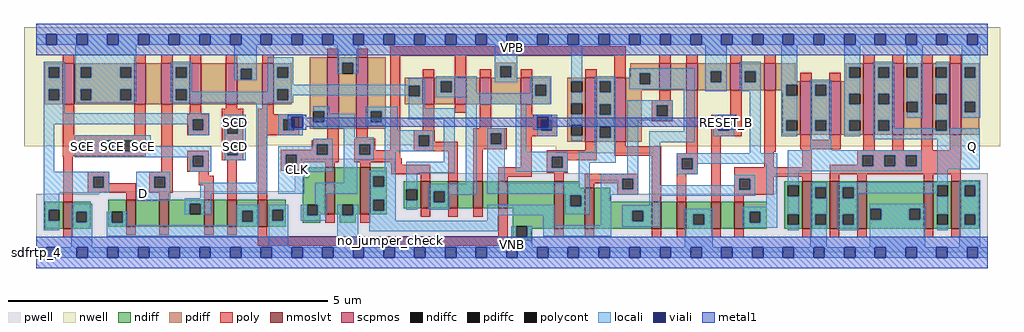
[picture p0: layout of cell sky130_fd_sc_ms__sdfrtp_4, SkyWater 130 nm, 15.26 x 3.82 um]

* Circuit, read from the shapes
.subckt sky130_fd_sc_ms__sdfrtp_4 CLK D RESET_B SCD SCE VGND VNB VPB VPWR Q
XM1 VGND SCE n1 VNB sky130_fd_pr__nfet_01v8_lvt w=0.42 l=0.15
XM2 n2 n1 n3 VNB sky130_fd_pr__nfet_01v8_lvt w=0.42 l=0.15
XM3 n4 D n2 VNB sky130_fd_pr__nfet_01v8_lvt w=0.42 l=0.15
XM4 n5 SCE n4 VNB sky130_fd_pr__nfet_01v8_lvt w=0.42 l=0.15
XM5 n3 SCD n5 VNB sky130_fd_pr__nfet_01v8_lvt w=0.42 l=0.15
XM6 VGND RESET_B n3 VNB sky130_fd_pr__nfet_01v8_lvt w=0.42 l=0.15
XM7 VGND CLK n6 VNB sky130_fd_pr__nfet_01v8_lvt w=0.74 l=0.15
XM8 n7 n6 VGND VNB sky130_fd_pr__nfet_01v8_lvt w=0.74 l=0.15
XM9 n8 n6 n4 VNB sky130_fd_pr__nfet_01v8_lvt w=0.42 l=0.15
XM10 n9 n7 n8 VNB sky130_fd_pr__nfet_01v8_lvt w=0.42 l=0.15
XM11 n10 n11 n9 VNB sky130_fd_pr__nfet_01v8_lvt w=0.42 l=0.15
XM12 VGND RESET_B n10 VNB sky130_fd_pr__nfet_01v8_lvt w=0.42 l=0.15
XM13 n11 n8 VGND VNB sky130_fd_pr__nfet_01v8_lvt w=0.74 l=0.15
XM14 n12 n7 n11 VNB sky130_fd_pr__nfet_01v8_lvt w=0.64 l=0.15
XM15 n13 n6 n12 VNB sky130_fd_pr__nfet_01v8_lvt w=0.42 l=0.15
XM16 VGND n14 n13 VNB sky130_fd_pr__nfet_01v8_lvt w=0.42 l=0.15
XM17 n15 RESET_B VGND VNB sky130_fd_pr__nfet_01v8_lvt w=0.42 l=0.15
XM18 n14 n12 n15 VNB sky130_fd_pr__nfet_01v8_lvt w=0.42 l=0.15
XM19 VGND n12 n16 VNB sky130_fd_pr__nfet_01v8_lvt w=0.74 l=0.15
XM20 Q n16 VGND VNB sky130_fd_pr__nfet_01v8_lvt w=0.74 l=0.15 m=4
XM21 VPWR SCE n1 VPB sky130_fd_pr__pfet_01v8 w=0.64 l=0.18
XM22 n17 SCE VPWR VPB sky130_fd_pr__pfet_01v8 w=0.64 l=0.18
XM23 n4 D n17 VPB sky130_fd_pr__pfet_01v8 w=0.64 l=0.18
XM24 n18 n1 n4 VPB sky130_fd_pr__pfet_01v8 w=0.64 l=0.18
XM25 VPWR SCD n18 VPB sky130_fd_pr__pfet_01v8 w=0.64 l=0.18
XM26 n4 RESET_B VPWR VPB sky130_fd_pr__pfet_01v8 w=0.64 l=0.18
XM27 VPWR CLK n6 VPB sky130_fd_pr__pfet_01v8 w=1.12 l=0.18
XM28 n7 n6 VPWR VPB sky130_fd_pr__pfet_01v8 w=1.12 l=0.18
XM29 n8 n7 n4 VPB sky130_fd_pr__pfet_01v8 w=0.42 l=0.18
XM30 n19 n6 n8 VPB sky130_fd_pr__pfet_01v8 w=0.42 l=0.18
XM31 VPWR n11 n19 VPB sky130_fd_pr__pfet_01v8 w=0.42 l=0.18
XM32 n8 RESET_B VPWR VPB sky130_fd_pr__pfet_01v8 w=0.42 l=0.18
XM33 n11 n8 VPWR VPB sky130_fd_pr__pfet_01v8 w=1 l=0.18
XM34 n12 n6 n11 VPB sky130_fd_pr__pfet_01v8 w=1 l=0.18
XM35 n20 n7 n12 VPB sky130_fd_pr__pfet_01v8 w=0.42 l=0.18
XM36 VPWR n14 n20 VPB sky130_fd_pr__pfet_01v8 w=0.42 l=0.18
XM37 n14 RESET_B VPWR VPB sky130_fd_pr__pfet_01v8 w=0.42 l=0.18
XM38 VPWR n12 n14 VPB sky130_fd_pr__pfet_01v8 w=0.42 l=0.18
XM39 n16 n12 VPWR VPB sky130_fd_pr__pfet_01v8 w=0.84 l=0.18 m=2
XM40 Q n16 VPWR VPB sky130_fd_pr__pfet_01v8 w=1.12 l=0.18 m=4
.ends

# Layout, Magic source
magic
tech sky130A
magscale 1 2
<< nwell >>
rect -38 335 3014 704
rect -38 332 710 335
rect 1194 332 3014 335
rect 1625 311 1929 332
<< pwell >>
rect 827 261 1122 293
rect 808 248 1122 261
rect 808 228 1726 248
rect 808 191 1821 228
rect 199 184 1821 191
rect 2313 184 2975 248
rect 1 49 2975 184
rect 0 0 2976 49
<< scpmos >>
rect 83 464 119 592
rect 307 464 343 592
rect 391 464 427 592
rect 481 464 517 592
rect 593 464 629 592
rect 707 464 743 592
rect 911 387 947 611
rect 1001 387 1037 611
rect 1209 463 1245 547
rect 1309 463 1345 547
rect 1387 463 1423 547
rect 1515 463 1551 547
rect 1717 347 1753 547
rect 1807 347 1843 547
rect 1949 508 1985 592
rect 2033 508 2069 592
rect 2170 508 2206 592
rect 2277 508 2313 592
rect 2390 368 2426 536
rect 2480 368 2516 536
rect 2587 368 2623 592
rect 2677 368 2713 592
rect 2767 368 2803 592
rect 2857 368 2893 592
<< nmoslvt >>
rect 84 74 114 158
rect 282 81 312 165
rect 385 81 415 165
rect 525 81 555 165
rect 597 81 627 165
rect 693 81 723 165
rect 904 119 934 267
rect 1014 119 1044 267
rect 1203 138 1233 222
rect 1289 138 1319 222
rect 1367 138 1397 222
rect 1445 138 1475 222
rect 1620 74 1650 222
rect 1715 74 1745 202
rect 1925 74 1955 158
rect 2003 74 2033 158
rect 2111 74 2141 158
rect 2183 74 2213 158
rect 2396 74 2426 222
rect 2482 74 2512 222
rect 2568 74 2598 222
rect 2776 74 2806 222
rect 2862 74 2892 222
<< ndiff >>
rect 853 235 904 267
rect 27 133 84 158
rect 27 99 39 133
rect 73 99 84 133
rect 27 74 84 99
rect 114 128 171 158
rect 114 94 125 128
rect 159 94 171 128
rect 114 74 171 94
rect 225 127 282 165
rect 225 93 237 127
rect 271 93 282 127
rect 225 81 282 93
rect 312 81 385 165
rect 415 153 525 165
rect 415 119 480 153
rect 514 119 525 153
rect 415 81 525 119
rect 555 81 597 165
rect 627 130 693 165
rect 627 96 644 130
rect 678 96 693 130
rect 627 81 693 96
rect 723 134 780 165
rect 723 100 738 134
rect 772 100 780 134
rect 723 81 780 100
rect 834 150 904 235
rect 834 116 847 150
rect 881 119 904 150
rect 934 150 1014 267
rect 934 119 957 150
rect 881 116 889 119
rect 834 93 889 116
rect 949 116 957 119
rect 991 119 1014 150
rect 1044 239 1096 267
rect 1044 205 1054 239
rect 1088 205 1096 239
rect 1044 165 1096 205
rect 1044 131 1054 165
rect 1088 131 1096 165
rect 1150 197 1203 222
rect 1150 163 1158 197
rect 1192 163 1203 197
rect 1150 138 1203 163
rect 1233 191 1289 222
rect 1233 157 1244 191
rect 1278 157 1289 191
rect 1233 138 1289 157
rect 1319 138 1367 222
rect 1397 138 1445 222
rect 1475 138 1620 222
rect 1044 119 1096 131
rect 991 116 999 119
rect 949 93 999 116
rect 1490 82 1620 138
rect 1490 48 1502 82
rect 1536 74 1620 82
rect 1650 202 1700 222
rect 1650 179 1715 202
rect 1650 145 1670 179
rect 1704 145 1715 179
rect 1650 74 1715 145
rect 1745 158 1795 202
rect 2339 210 2396 222
rect 2339 176 2351 210
rect 2385 176 2396 210
rect 1745 131 1925 158
rect 1745 97 1864 131
rect 1898 97 1925 131
rect 1745 74 1925 97
rect 1955 74 2003 158
rect 2033 120 2111 158
rect 2033 86 2055 120
rect 2089 86 2111 120
rect 2033 74 2111 86
rect 2141 74 2183 158
rect 2213 127 2285 158
rect 2213 93 2231 127
rect 2265 93 2285 127
rect 2213 74 2285 93
rect 2339 120 2396 176
rect 2339 86 2351 120
rect 2385 86 2396 120
rect 2339 74 2396 86
rect 2426 204 2482 222
rect 2426 170 2437 204
rect 2471 170 2482 204
rect 2426 120 2482 170
rect 2426 86 2437 120
rect 2471 86 2482 120
rect 2426 74 2482 86
rect 2512 204 2568 222
rect 2512 170 2523 204
rect 2557 170 2568 204
rect 2512 120 2568 170
rect 2512 86 2523 120
rect 2557 86 2568 120
rect 2512 74 2568 86
rect 2598 136 2776 222
rect 2598 102 2609 136
rect 2643 102 2731 136
rect 2765 102 2776 136
rect 2598 74 2776 102
rect 2806 210 2862 222
rect 2806 176 2817 210
rect 2851 176 2862 210
rect 2806 120 2862 176
rect 2806 86 2817 120
rect 2851 86 2862 120
rect 2806 74 2862 86
rect 2892 210 2949 222
rect 2892 176 2903 210
rect 2937 176 2949 210
rect 2892 120 2949 176
rect 2892 86 2903 120
rect 2937 86 2949 120
rect 2892 74 2949 86
rect 1536 48 1548 74
rect 1490 36 1548 48
<< pdiff >>
rect 27 580 83 592
rect 27 546 39 580
rect 73 546 83 580
rect 27 510 83 546
rect 27 476 39 510
rect 73 476 83 510
rect 27 464 83 476
rect 119 580 307 592
rect 119 546 139 580
rect 173 546 263 580
rect 297 546 307 580
rect 119 510 307 546
rect 119 476 139 510
rect 173 476 263 510
rect 297 476 307 510
rect 119 464 307 476
rect 343 464 391 592
rect 427 580 481 592
rect 427 546 437 580
rect 471 546 481 580
rect 427 510 481 546
rect 427 476 437 510
rect 471 476 481 510
rect 427 464 481 476
rect 517 464 593 592
rect 629 575 707 592
rect 629 541 640 575
rect 674 541 707 575
rect 629 464 707 541
rect 743 580 800 592
rect 743 546 754 580
rect 788 546 800 580
rect 743 510 800 546
rect 743 476 754 510
rect 788 476 800 510
rect 743 464 800 476
rect 855 441 911 611
rect 855 407 867 441
rect 901 407 911 441
rect 855 387 911 407
rect 947 593 1001 611
rect 947 559 957 593
rect 991 559 1001 593
rect 947 387 1001 559
rect 1037 441 1093 611
rect 1037 407 1047 441
rect 1081 407 1093 441
rect 1037 387 1093 407
rect 1438 582 1500 594
rect 1438 548 1452 582
rect 1486 548 1500 582
rect 1438 547 1500 548
rect 1858 560 1949 592
rect 1858 547 1887 560
rect 1153 522 1209 547
rect 1153 488 1165 522
rect 1199 488 1209 522
rect 1153 463 1209 488
rect 1245 535 1309 547
rect 1245 501 1265 535
rect 1299 501 1309 535
rect 1245 463 1309 501
rect 1345 463 1387 547
rect 1423 463 1515 547
rect 1551 524 1607 547
rect 1551 490 1561 524
rect 1595 490 1607 524
rect 1551 463 1607 490
rect 1661 535 1717 547
rect 1661 501 1673 535
rect 1707 501 1717 535
rect 1661 467 1717 501
rect 1661 433 1673 467
rect 1707 433 1717 467
rect 1661 399 1717 433
rect 1661 365 1673 399
rect 1707 365 1717 399
rect 1661 347 1717 365
rect 1753 535 1807 547
rect 1753 501 1763 535
rect 1797 501 1807 535
rect 1753 464 1807 501
rect 1753 430 1763 464
rect 1797 430 1807 464
rect 1753 393 1807 430
rect 1753 359 1763 393
rect 1797 359 1807 393
rect 1753 347 1807 359
rect 1843 526 1887 547
rect 1921 526 1949 560
rect 1843 508 1949 526
rect 1985 508 2033 592
rect 2069 567 2170 592
rect 2069 533 2109 567
rect 2143 533 2170 567
rect 2069 508 2170 533
rect 2206 567 2277 592
rect 2206 533 2216 567
rect 2250 533 2277 567
rect 2206 508 2277 533
rect 2313 536 2375 592
rect 2531 580 2587 592
rect 2531 546 2543 580
rect 2577 546 2587 580
rect 2531 536 2587 546
rect 2313 524 2390 536
rect 2313 508 2346 524
rect 1843 347 1893 508
rect 2333 490 2346 508
rect 2380 490 2390 524
rect 2333 414 2390 490
rect 2333 380 2346 414
rect 2380 380 2390 414
rect 2333 368 2390 380
rect 2426 524 2480 536
rect 2426 490 2436 524
rect 2470 490 2480 524
rect 2426 414 2480 490
rect 2426 380 2436 414
rect 2470 380 2480 414
rect 2426 368 2480 380
rect 2516 497 2587 536
rect 2516 463 2543 497
rect 2577 463 2587 497
rect 2516 414 2587 463
rect 2516 380 2543 414
rect 2577 380 2587 414
rect 2516 368 2587 380
rect 2623 580 2677 592
rect 2623 546 2633 580
rect 2667 546 2677 580
rect 2623 497 2677 546
rect 2623 463 2633 497
rect 2667 463 2677 497
rect 2623 414 2677 463
rect 2623 380 2633 414
rect 2667 380 2677 414
rect 2623 368 2677 380
rect 2713 580 2767 592
rect 2713 546 2723 580
rect 2757 546 2767 580
rect 2713 472 2767 546
rect 2713 438 2723 472
rect 2757 438 2767 472
rect 2713 368 2767 438
rect 2803 580 2857 592
rect 2803 546 2813 580
rect 2847 546 2857 580
rect 2803 497 2857 546
rect 2803 463 2813 497
rect 2847 463 2857 497
rect 2803 414 2857 463
rect 2803 380 2813 414
rect 2847 380 2857 414
rect 2803 368 2857 380
rect 2893 580 2949 592
rect 2893 546 2903 580
rect 2937 546 2949 580
rect 2893 472 2949 546
rect 2893 438 2903 472
rect 2937 438 2949 472
rect 2893 368 2949 438
<< ndiffc >>
rect 39 99 73 133
rect 125 94 159 128
rect 237 93 271 127
rect 480 119 514 153
rect 644 96 678 130
rect 738 100 772 134
rect 847 116 881 150
rect 957 116 991 150
rect 1054 205 1088 239
rect 1054 131 1088 165
rect 1158 163 1192 197
rect 1244 157 1278 191
rect 1502 48 1536 82
rect 1670 145 1704 179
rect 2351 176 2385 210
rect 1864 97 1898 131
rect 2055 86 2089 120
rect 2231 93 2265 127
rect 2351 86 2385 120
rect 2437 170 2471 204
rect 2437 86 2471 120
rect 2523 170 2557 204
rect 2523 86 2557 120
rect 2609 102 2643 136
rect 2731 102 2765 136
rect 2817 176 2851 210
rect 2817 86 2851 120
rect 2903 176 2937 210
rect 2903 86 2937 120
<< pdiffc >>
rect 39 546 73 580
rect 39 476 73 510
rect 139 546 173 580
rect 263 546 297 580
rect 139 476 173 510
rect 263 476 297 510
rect 437 546 471 580
rect 437 476 471 510
rect 640 541 674 575
rect 754 546 788 580
rect 754 476 788 510
rect 867 407 901 441
rect 957 559 991 593
rect 1047 407 1081 441
rect 1452 548 1486 582
rect 1165 488 1199 522
rect 1265 501 1299 535
rect 1561 490 1595 524
rect 1673 501 1707 535
rect 1673 433 1707 467
rect 1673 365 1707 399
rect 1763 501 1797 535
rect 1763 430 1797 464
rect 1763 359 1797 393
rect 1887 526 1921 560
rect 2109 533 2143 567
rect 2216 533 2250 567
rect 2543 546 2577 580
rect 2346 490 2380 524
rect 2346 380 2380 414
rect 2436 490 2470 524
rect 2436 380 2470 414
rect 2543 463 2577 497
rect 2543 380 2577 414
rect 2633 546 2667 580
rect 2633 463 2667 497
rect 2633 380 2667 414
rect 2723 546 2757 580
rect 2723 438 2757 472
rect 2813 546 2847 580
rect 2813 463 2847 497
rect 2813 380 2847 414
rect 2903 546 2937 580
rect 2903 438 2937 472
<< poly >>
rect 83 592 119 618
rect 307 592 343 618
rect 391 592 427 618
rect 481 592 517 618
rect 593 592 629 618
rect 707 592 743 618
rect 911 611 947 637
rect 1001 611 1037 637
rect 1108 615 1843 645
rect 83 367 119 464
rect 307 367 343 464
rect 83 351 343 367
rect 83 317 137 351
rect 171 317 205 351
rect 239 317 273 351
rect 307 317 343 351
rect 83 301 343 317
rect 84 158 114 301
rect 391 253 427 464
rect 481 432 517 464
rect 593 449 629 464
rect 707 449 743 464
rect 473 416 539 432
rect 473 382 489 416
rect 523 382 539 416
rect 473 366 539 382
rect 581 406 647 449
rect 581 372 597 406
rect 631 372 647 406
rect 581 338 647 372
rect 162 237 228 253
rect 162 203 178 237
rect 212 217 228 237
rect 354 237 427 253
rect 473 302 539 318
rect 473 268 489 302
rect 523 268 539 302
rect 581 304 597 338
rect 631 304 647 338
rect 581 288 647 304
rect 693 432 743 449
rect 693 416 823 432
rect 693 382 773 416
rect 807 382 823 416
rect 693 370 823 382
rect 693 366 819 370
rect 473 252 539 268
rect 212 203 312 217
rect 162 187 312 203
rect 354 203 370 237
rect 404 203 427 237
rect 509 240 539 252
rect 509 210 555 240
rect 354 187 427 203
rect 282 165 312 187
rect 385 165 415 187
rect 525 165 555 210
rect 597 165 627 288
rect 693 165 723 366
rect 911 355 947 387
rect 1001 355 1037 387
rect 866 351 947 355
rect 862 339 947 351
rect 862 322 878 339
rect 765 306 878 322
rect 765 272 781 306
rect 815 305 878 306
rect 912 305 947 339
rect 815 282 947 305
rect 995 339 1061 355
rect 995 305 1011 339
rect 1045 319 1061 339
rect 1108 319 1138 615
rect 1209 547 1245 573
rect 1309 547 1345 615
rect 1387 547 1423 573
rect 1515 547 1551 573
rect 1717 547 1753 573
rect 1807 547 1843 615
rect 1949 592 1985 618
rect 2033 592 2069 618
rect 2170 592 2206 618
rect 2277 592 2313 618
rect 2587 592 2623 618
rect 2677 592 2713 618
rect 2767 592 2803 618
rect 2857 592 2893 618
rect 1209 383 1245 463
rect 1309 437 1345 463
rect 1387 389 1423 463
rect 1515 430 1551 463
rect 1515 414 1629 430
rect 1045 305 1138 319
rect 1180 367 1246 383
rect 1180 333 1196 367
rect 1230 347 1246 367
rect 1367 373 1471 389
rect 1230 333 1319 347
rect 1180 317 1319 333
rect 995 295 1138 305
rect 995 282 1143 295
rect 815 272 837 282
rect 765 256 837 272
rect 904 267 934 282
rect 1014 267 1044 282
rect 1109 275 1143 282
rect 904 93 934 119
rect 1111 245 1233 275
rect 1203 222 1233 245
rect 1289 222 1319 317
rect 1367 339 1421 373
rect 1455 339 1471 373
rect 1367 323 1471 339
rect 1515 380 1579 414
rect 1613 380 1629 414
rect 1515 364 1629 380
rect 1367 222 1397 323
rect 1515 267 1549 364
rect 2390 536 2426 562
rect 2480 536 2516 562
rect 1949 476 1985 508
rect 1925 460 1991 476
rect 1925 426 1941 460
rect 1975 426 1991 460
rect 1925 410 1991 426
rect 1717 319 1753 347
rect 1445 237 1549 267
rect 1597 299 1753 319
rect 1807 332 1843 347
rect 1807 302 1955 332
rect 2033 311 2069 508
rect 2170 430 2206 508
rect 1597 265 1613 299
rect 1647 289 1753 299
rect 1647 265 1663 289
rect 1597 249 1663 265
rect 1445 222 1475 237
rect 1620 222 1650 249
rect 1715 231 1883 247
rect 1014 93 1044 119
rect 1203 112 1233 138
rect 1289 112 1319 138
rect 1367 112 1397 138
rect 84 48 114 74
rect 282 55 312 81
rect 385 55 415 81
rect 525 55 555 81
rect 597 55 627 81
rect 693 51 723 81
rect 1445 51 1475 138
rect 693 21 1475 51
rect 1715 217 1833 231
rect 1715 202 1745 217
rect 1817 197 1833 217
rect 1867 197 1883 231
rect 1817 181 1883 197
rect 1925 158 1955 302
rect 2003 295 2069 311
rect 2003 261 2019 295
rect 2053 261 2069 295
rect 2003 245 2069 261
rect 2111 414 2206 430
rect 2111 380 2133 414
rect 2167 380 2206 414
rect 2111 364 2206 380
rect 2003 158 2033 245
rect 2111 158 2141 364
rect 2277 315 2313 508
rect 2390 353 2426 368
rect 2480 353 2516 368
rect 2390 323 2516 353
rect 2277 267 2307 315
rect 2396 267 2426 323
rect 2587 320 2623 368
rect 2677 320 2713 368
rect 2767 320 2803 368
rect 2857 320 2893 368
rect 2568 304 2893 320
rect 2568 275 2584 304
rect 2183 237 2426 267
rect 2183 230 2307 237
rect 2183 196 2199 230
rect 2233 196 2307 230
rect 2396 222 2426 237
rect 2482 270 2584 275
rect 2618 270 2652 304
rect 2686 270 2720 304
rect 2754 290 2893 304
rect 2754 270 2892 290
rect 2482 245 2892 270
rect 2482 222 2512 245
rect 2568 222 2598 245
rect 2776 222 2806 245
rect 2862 222 2892 245
rect 2183 180 2307 196
rect 2183 158 2213 180
rect 1620 48 1650 74
rect 1715 48 1745 74
rect 1925 48 1955 74
rect 2003 48 2033 74
rect 2111 48 2141 74
rect 2183 48 2213 74
rect 2396 48 2426 74
rect 2482 48 2512 74
rect 2568 48 2598 74
rect 2776 48 2806 74
rect 2862 48 2892 74
<< polycont >>
rect 137 317 171 351
rect 205 317 239 351
rect 273 317 307 351
rect 489 382 523 416
rect 597 372 631 406
rect 178 203 212 237
rect 489 268 523 302
rect 597 304 631 338
rect 773 382 807 416
rect 370 203 404 237
rect 781 272 815 306
rect 878 305 912 339
rect 1011 305 1045 339
rect 1196 333 1230 367
rect 1421 339 1455 373
rect 1579 380 1613 414
rect 1941 426 1975 460
rect 1613 265 1647 299
rect 1833 197 1867 231
rect 2019 261 2053 295
rect 2133 380 2167 414
rect 2199 196 2233 230
rect 2584 270 2618 304
rect 2652 270 2686 304
rect 2720 270 2754 304
<< locali >>
rect 0 649 31 683
rect 65 649 127 683
rect 161 649 223 683
rect 257 649 319 683
rect 353 649 415 683
rect 449 649 511 683
rect 545 649 607 683
rect 641 649 703 683
rect 737 649 799 683
rect 833 649 895 683
rect 929 649 991 683
rect 1025 649 1087 683
rect 1121 649 1183 683
rect 1217 649 1279 683
rect 1313 649 1375 683
rect 1409 649 1471 683
rect 1505 649 1567 683
rect 1601 649 1663 683
rect 1697 649 1759 683
rect 1793 649 1855 683
rect 1889 649 1951 683
rect 1985 649 2047 683
rect 2081 649 2143 683
rect 2177 649 2239 683
rect 2273 649 2335 683
rect 2369 649 2431 683
rect 2465 649 2527 683
rect 2561 649 2623 683
rect 2657 649 2719 683
rect 2753 649 2815 683
rect 2849 649 2911 683
rect 2945 649 2976 683
rect 23 580 89 596
rect 23 546 39 580
rect 73 546 89 580
rect 23 510 89 546
rect 23 476 39 510
rect 73 476 89 510
rect 23 435 89 476
rect 123 580 313 649
rect 123 546 139 580
rect 173 546 263 580
rect 297 546 313 580
rect 123 510 313 546
rect 123 476 139 510
rect 173 476 263 510
rect 297 476 313 510
rect 123 469 313 476
rect 421 580 487 596
rect 421 546 437 580
rect 471 546 487 580
rect 421 510 487 546
rect 619 575 690 649
rect 619 541 640 575
rect 674 541 690 575
rect 619 538 690 541
rect 724 580 804 611
rect 724 546 754 580
rect 788 546 804 580
rect 941 593 1007 649
rect 941 559 957 593
rect 991 559 1007 593
rect 1434 582 1504 649
rect 421 476 437 510
rect 471 503 487 510
rect 724 525 804 546
rect 1165 525 1215 545
rect 724 522 1215 525
rect 724 510 1165 522
rect 724 503 754 510
rect 471 476 754 503
rect 788 491 1165 510
rect 788 476 804 491
rect 421 469 804 476
rect 1199 488 1215 522
rect 23 416 541 435
rect 23 401 489 416
rect 23 253 57 401
rect 475 382 489 401
rect 523 382 541 416
rect 121 351 359 367
rect 475 366 541 382
rect 589 406 655 430
rect 589 372 597 406
rect 631 372 655 406
rect 121 317 137 351
rect 171 317 205 351
rect 239 317 273 351
rect 307 332 359 351
rect 589 338 655 372
rect 307 317 547 332
rect 121 302 547 317
rect 121 298 489 302
rect 481 268 489 298
rect 523 268 547 302
rect 589 304 597 338
rect 631 304 655 338
rect 589 288 655 304
rect 23 237 228 253
rect 23 203 178 237
rect 212 203 228 237
rect 23 187 228 203
rect 313 237 420 253
rect 481 252 547 268
rect 313 203 370 237
rect 404 203 420 237
rect 689 218 723 469
rect 867 441 917 457
rect 757 424 833 432
rect 757 416 799 424
rect 757 382 773 416
rect 807 382 833 390
rect 901 434 917 441
rect 1031 441 1131 455
rect 901 407 996 434
rect 867 389 996 407
rect 1031 407 1047 441
rect 1081 407 1131 441
rect 1165 451 1215 488
rect 1249 535 1377 551
rect 1249 501 1265 535
rect 1299 501 1377 535
rect 1434 548 1452 582
rect 1486 548 1504 582
rect 1434 532 1504 548
rect 1249 498 1377 501
rect 1545 524 1611 551
rect 1545 498 1561 524
rect 1249 490 1561 498
rect 1595 490 1611 524
rect 1249 485 1611 490
rect 1343 464 1611 485
rect 1673 535 1707 649
rect 1854 560 2059 576
rect 1673 467 1707 501
rect 1165 417 1309 451
rect 1031 394 1131 407
rect 757 366 833 382
rect 962 360 996 389
rect 1090 383 1131 394
rect 1090 367 1241 383
rect 867 339 928 355
rect 867 332 878 339
rect 23 133 73 187
rect 313 162 420 203
rect 513 184 723 218
rect 757 306 878 332
rect 757 272 781 306
rect 815 305 878 306
rect 912 305 928 339
rect 815 272 928 305
rect 757 252 928 272
rect 962 339 1056 360
rect 962 305 1011 339
rect 1045 305 1056 339
rect 962 289 1056 305
rect 1090 333 1196 367
rect 1230 333 1241 367
rect 1090 317 1241 333
rect 757 184 839 252
rect 962 218 1004 289
rect 1090 255 1124 317
rect 1275 283 1309 417
rect 873 184 1004 218
rect 1041 239 1124 255
rect 1041 205 1054 239
rect 1088 205 1124 239
rect 513 169 547 184
rect 464 153 547 169
rect 23 99 39 133
rect 23 70 73 99
rect 109 128 175 153
rect 109 94 125 128
rect 159 94 175 128
rect 109 17 175 94
rect 221 127 287 128
rect 221 93 237 127
rect 271 93 287 127
rect 464 119 480 153
rect 514 119 547 153
rect 873 150 907 184
rect 1041 165 1124 205
rect 628 130 694 150
rect 221 85 287 93
rect 628 96 644 130
rect 678 96 694 130
rect 628 85 694 96
rect 221 51 694 85
rect 728 134 788 150
rect 728 100 738 134
rect 772 100 788 134
rect 827 116 847 150
rect 881 116 907 150
rect 827 100 907 116
rect 941 116 957 150
rect 991 116 1007 150
rect 728 17 788 100
rect 941 17 1007 116
rect 1041 131 1054 165
rect 1088 131 1124 165
rect 1158 249 1309 283
rect 1158 197 1192 249
rect 1343 215 1377 464
rect 1158 134 1192 163
rect 1228 191 1377 215
rect 1228 157 1244 191
rect 1278 181 1377 191
rect 1411 373 1465 389
rect 1411 339 1421 373
rect 1455 339 1465 373
rect 1411 218 1465 339
rect 1499 315 1533 464
rect 1567 424 1629 430
rect 1601 414 1629 424
rect 1567 380 1579 390
rect 1613 380 1629 414
rect 1567 364 1629 380
rect 1673 399 1707 433
rect 1673 349 1707 365
rect 1747 535 1813 551
rect 1747 501 1763 535
rect 1797 501 1813 535
rect 1854 526 1887 560
rect 1921 526 2059 560
rect 1854 510 2059 526
rect 1747 464 1813 501
rect 1747 430 1763 464
rect 1797 430 1813 464
rect 1747 393 1813 430
rect 1747 359 1763 393
rect 1797 359 1813 393
rect 1747 315 1813 359
rect 1499 299 1663 315
rect 1499 265 1613 299
rect 1647 265 1663 299
rect 1499 252 1663 265
rect 1697 281 1813 315
rect 1849 460 1991 476
rect 1849 426 1941 460
rect 1975 426 1991 460
rect 1849 413 1991 426
rect 1697 218 1731 281
rect 1849 247 1883 413
rect 2025 379 2059 510
rect 2093 567 2159 649
rect 2093 533 2109 567
rect 2143 533 2159 567
rect 2093 504 2159 533
rect 2200 567 2266 596
rect 2200 533 2216 567
rect 2250 533 2266 567
rect 2200 504 2266 533
rect 1411 184 1731 218
rect 1278 157 1294 181
rect 1228 134 1294 157
rect 1654 179 1731 184
rect 1041 100 1124 131
rect 1411 116 1620 150
rect 1654 145 1670 179
rect 1704 145 1731 179
rect 1654 119 1731 145
rect 1765 231 1883 247
rect 1765 197 1833 231
rect 1867 197 1883 231
rect 1765 181 1883 197
rect 1917 345 2059 379
rect 2117 424 2183 430
rect 2117 414 2143 424
rect 2117 380 2133 414
rect 2177 390 2183 424
rect 2167 380 2183 390
rect 2117 364 2183 380
rect 1917 211 1951 345
rect 2232 311 2266 504
rect 2330 524 2380 649
rect 2527 580 2577 649
rect 2527 546 2543 580
rect 2330 490 2346 524
rect 2330 414 2380 490
rect 2330 380 2346 414
rect 2330 364 2380 380
rect 2420 524 2486 540
rect 2420 490 2436 524
rect 2470 490 2486 524
rect 2420 414 2486 490
rect 2420 380 2436 414
rect 2470 380 2486 414
rect 2420 320 2486 380
rect 2527 497 2577 546
rect 2527 463 2543 497
rect 2527 414 2577 463
rect 2527 380 2543 414
rect 2527 364 2577 380
rect 2617 580 2683 596
rect 2617 546 2633 580
rect 2667 546 2683 580
rect 2617 497 2683 546
rect 2617 463 2633 497
rect 2667 463 2683 497
rect 2617 414 2683 463
rect 2723 580 2773 649
rect 2757 546 2773 580
rect 2723 472 2773 546
rect 2757 438 2773 472
rect 2723 422 2773 438
rect 2813 580 2856 596
rect 2847 546 2856 580
rect 2813 497 2856 546
rect 2847 463 2856 497
rect 2617 380 2633 414
rect 2667 388 2683 414
rect 2813 414 2856 463
rect 2894 580 2953 649
rect 2894 546 2903 580
rect 2937 546 2953 580
rect 2894 472 2953 546
rect 2894 438 2903 472
rect 2937 438 2953 472
rect 2894 422 2953 438
rect 2667 380 2813 388
rect 2847 388 2856 414
rect 2847 380 2951 388
rect 2617 354 2951 380
rect 2003 295 2317 311
rect 2003 261 2019 295
rect 2053 277 2317 295
rect 2053 261 2069 277
rect 2003 245 2069 261
rect 2183 230 2249 243
rect 2183 211 2199 230
rect 1917 196 2199 211
rect 2233 196 2249 230
rect 1411 100 1445 116
rect 1041 66 1445 100
rect 1586 85 1620 116
rect 1765 85 1799 181
rect 1917 177 2249 196
rect 1917 147 1951 177
rect 1486 48 1502 82
rect 1536 48 1552 82
rect 1586 51 1799 85
rect 1833 131 1951 147
rect 2283 143 2317 277
rect 1833 97 1864 131
rect 1898 97 1951 131
rect 1833 81 1951 97
rect 2028 120 2116 136
rect 2028 86 2055 120
rect 2089 86 2116 120
rect 1486 17 1552 48
rect 2028 17 2116 86
rect 2208 127 2317 143
rect 2208 93 2231 127
rect 2265 93 2317 127
rect 2208 77 2317 93
rect 2351 304 2770 320
rect 2351 270 2584 304
rect 2618 270 2652 304
rect 2686 270 2720 304
rect 2754 270 2770 304
rect 2351 254 2770 270
rect 2817 260 2951 354
rect 2351 210 2385 254
rect 2817 220 2851 260
rect 2351 120 2385 176
rect 2351 70 2385 86
rect 2421 204 2473 220
rect 2421 170 2437 204
rect 2471 170 2473 204
rect 2421 120 2473 170
rect 2421 86 2437 120
rect 2471 86 2473 120
rect 2421 17 2473 86
rect 2507 210 2851 220
rect 2507 204 2817 210
rect 2507 170 2523 204
rect 2557 186 2817 204
rect 2557 170 2573 186
rect 2507 120 2573 170
rect 2507 86 2523 120
rect 2557 86 2573 120
rect 2507 70 2573 86
rect 2607 136 2781 152
rect 2607 102 2609 136
rect 2643 102 2731 136
rect 2765 102 2781 136
rect 2607 17 2781 102
rect 2817 120 2851 176
rect 2817 70 2851 86
rect 2887 210 2953 226
rect 2887 176 2903 210
rect 2937 176 2953 210
rect 2887 120 2953 176
rect 2887 86 2903 120
rect 2937 86 2953 120
rect 2887 17 2953 86
rect 0 -17 31 17
rect 65 -17 127 17
rect 161 -17 223 17
rect 257 -17 319 17
rect 353 -17 415 17
rect 449 -17 511 17
rect 545 -17 607 17
rect 641 -17 703 17
rect 737 -17 799 17
rect 833 -17 895 17
rect 929 -17 991 17
rect 1025 -17 1087 17
rect 1121 -17 1183 17
rect 1217 -17 1279 17
rect 1313 -17 1375 17
rect 1409 -17 1471 17
rect 1505 -17 1567 17
rect 1601 -17 1663 17
rect 1697 -17 1759 17
rect 1793 -17 1855 17
rect 1889 -17 1951 17
rect 1985 -17 2047 17
rect 2081 -17 2143 17
rect 2177 -17 2239 17
rect 2273 -17 2335 17
rect 2369 -17 2431 17
rect 2465 -17 2527 17
rect 2561 -17 2623 17
rect 2657 -17 2719 17
rect 2753 -17 2815 17
rect 2849 -17 2911 17
rect 2945 -17 2976 17
<< viali >>
rect 31 649 65 683
rect 127 649 161 683
rect 223 649 257 683
rect 319 649 353 683
rect 415 649 449 683
rect 511 649 545 683
rect 607 649 641 683
rect 703 649 737 683
rect 799 649 833 683
rect 895 649 929 683
rect 991 649 1025 683
rect 1087 649 1121 683
rect 1183 649 1217 683
rect 1279 649 1313 683
rect 1375 649 1409 683
rect 1471 649 1505 683
rect 1567 649 1601 683
rect 1663 649 1697 683
rect 1759 649 1793 683
rect 1855 649 1889 683
rect 1951 649 1985 683
rect 2047 649 2081 683
rect 2143 649 2177 683
rect 2239 649 2273 683
rect 2335 649 2369 683
rect 2431 649 2465 683
rect 2527 649 2561 683
rect 2623 649 2657 683
rect 2719 649 2753 683
rect 2815 649 2849 683
rect 2911 649 2945 683
rect 799 416 833 424
rect 799 390 807 416
rect 807 390 833 416
rect 1567 414 1601 424
rect 1567 390 1579 414
rect 1579 390 1601 414
rect 2143 414 2177 424
rect 2143 390 2167 414
rect 2167 390 2177 414
rect 31 -17 65 17
rect 127 -17 161 17
rect 223 -17 257 17
rect 319 -17 353 17
rect 415 -17 449 17
rect 511 -17 545 17
rect 607 -17 641 17
rect 703 -17 737 17
rect 799 -17 833 17
rect 895 -17 929 17
rect 991 -17 1025 17
rect 1087 -17 1121 17
rect 1183 -17 1217 17
rect 1279 -17 1313 17
rect 1375 -17 1409 17
rect 1471 -17 1505 17
rect 1567 -17 1601 17
rect 1663 -17 1697 17
rect 1759 -17 1793 17
rect 1855 -17 1889 17
rect 1951 -17 1985 17
rect 2047 -17 2081 17
rect 2143 -17 2177 17
rect 2239 -17 2273 17
rect 2335 -17 2369 17
rect 2431 -17 2465 17
rect 2527 -17 2561 17
rect 2623 -17 2657 17
rect 2719 -17 2753 17
rect 2815 -17 2849 17
rect 2911 -17 2945 17
<< metal1 >>
rect 0 683 2976 715
rect 0 649 31 683
rect 65 649 127 683
rect 161 649 223 683
rect 257 649 319 683
rect 353 649 415 683
rect 449 649 511 683
rect 545 649 607 683
rect 641 649 703 683
rect 737 649 799 683
rect 833 649 895 683
rect 929 649 991 683
rect 1025 649 1087 683
rect 1121 649 1183 683
rect 1217 649 1279 683
rect 1313 649 1375 683
rect 1409 649 1471 683
rect 1505 649 1567 683
rect 1601 649 1663 683
rect 1697 649 1759 683
rect 1793 649 1855 683
rect 1889 649 1951 683
rect 1985 649 2047 683
rect 2081 649 2143 683
rect 2177 649 2239 683
rect 2273 649 2335 683
rect 2369 649 2431 683
rect 2465 649 2527 683
rect 2561 649 2623 683
rect 2657 649 2719 683
rect 2753 649 2815 683
rect 2849 649 2911 683
rect 2945 649 2976 683
rect 0 617 2976 649
rect 787 424 845 430
rect 787 390 799 424
rect 833 421 845 424
rect 1555 424 1613 430
rect 1555 421 1567 424
rect 833 393 1567 421
rect 833 390 845 393
rect 787 384 845 390
rect 1555 390 1567 393
rect 1601 421 1613 424
rect 2131 424 2189 430
rect 2131 421 2143 424
rect 1601 393 2143 421
rect 1601 390 1613 393
rect 1555 384 1613 390
rect 2131 390 2143 393
rect 2177 390 2189 424
rect 2131 384 2189 390
rect 0 17 2976 49
rect 0 -17 31 17
rect 65 -17 127 17
rect 161 -17 223 17
rect 257 -17 319 17
rect 353 -17 415 17
rect 449 -17 511 17
rect 545 -17 607 17
rect 641 -17 703 17
rect 737 -17 799 17
rect 833 -17 895 17
rect 929 -17 991 17
rect 1025 -17 1087 17
rect 1121 -17 1183 17
rect 1217 -17 1279 17
rect 1313 -17 1375 17
rect 1409 -17 1471 17
rect 1505 -17 1567 17
rect 1601 -17 1663 17
rect 1697 -17 1759 17
rect 1793 -17 1855 17
rect 1889 -17 1951 17
rect 1985 -17 2047 17
rect 2081 -17 2143 17
rect 2177 -17 2239 17
rect 2273 -17 2335 17
rect 2369 -17 2431 17
rect 2465 -17 2527 17
rect 2561 -17 2623 17
rect 2657 -17 2719 17
rect 2753 -17 2815 17
rect 2849 -17 2911 17
rect 2945 -17 2976 17
rect 0 -49 2976 -17
<< labels >>
flabel pwell s 0 0 2976 49 0 FreeSans 200 0 0 0 VNB
port 7 nsew ground bidirectional
flabel nwell s 0 617 2976 666 0 FreeSans 200 0 0 0 VPB
port 8 nsew power bidirectional
flabel comment s 1485 630 1485 630 0 FreeSans 300 0 0 0 no_jumper_check
rlabel comment s 0 0 0 0 4 sdfrtp_4
flabel comment s 1108 36 1108 36 0 FreeSans 300 0 0 0 no_jumper_check
flabel metal1 s 2143 390 2177 424 0 FreeSans 340 0 0 0 RESET_B
port 3 nsew signal input
flabel metal1 s 0 0 2976 49 0 FreeSans 340 0 0 0 VGND
port 6 nsew ground bidirectional
flabel metal1 s 0 617 2976 666 0 FreeSans 340 0 0 0 VPWR
port 9 nsew power bidirectional
flabel locali s 319 168 353 202 0 FreeSans 340 0 0 0 D
port 2 nsew signal input
flabel locali s 127 316 161 350 0 FreeSans 340 0 0 0 SCE
port 5 nsew signal input
flabel locali s 223 316 257 350 0 FreeSans 340 0 0 0 SCE
port 5 nsew signal input
flabel locali s 319 316 353 350 0 FreeSans 340 0 0 0 SCE
port 5 nsew signal input
flabel locali s 607 316 641 350 0 FreeSans 340 0 0 0 SCD
port 4 nsew signal input
flabel locali s 607 390 641 424 0 FreeSans 340 0 0 0 SCD
port 4 nsew signal input
flabel locali s 799 242 833 276 0 FreeSans 340 0 0 0 CLK
port 1 nsew clock input
flabel locali s 2911 316 2945 350 0 FreeSans 340 0 0 0 Q
port 10 nsew signal output
<< properties >>
string LEFsite unit
string LEFclass CORE
string FIXED_BBOX 0 0 2976 666
string GDS_FILE $PDKPATH/libs.ref/sky130_fd_sc_ms/gds/sky130_fd_sc_ms.gds
string LEFsymmetry X Y R90
string GDS_END 2109094
string GDS_START 2087824
<< end >>
